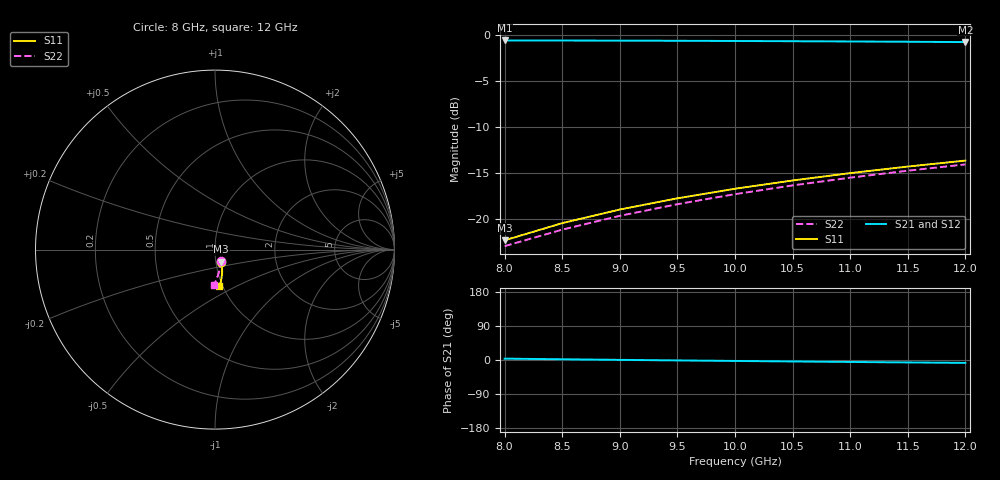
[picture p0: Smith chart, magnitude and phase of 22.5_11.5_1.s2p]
! Created Thu Oct 22 17:09:23 2020
# hz S ma R 50
! 2 Port Network Data from SP1.SP block
! freq  magS11  angS11  magS21  angS21  magS12  angS12  magS22  angS22
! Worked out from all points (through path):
!   9 points, 8 GHz to 12 GHz, reference 50 ohm
!   highest |S21| = -0.62 dB at 8 GHz (marker M1); lowest = -0.8 dB at 12 GHz (marker M2)
!   lowest |S11| = -22.4 dB at 8 GHz (marker M3), VSWR 1.16, Z = 53 - j7.26 ohm
!   |S11| at or under -10 dB: start of sweep to end of sweep
!   |S22| runs from -23.0 to -14.1 dB; largest |S21 - S12| = 0
8e9  0.07615 -63.3  0.9308 3.6  0.9308 3.6  0.07079 -60.3
8.5e9  0.09448 -66.5  0.93 1.9  0.93 1.9  0.08709 -68.3
9e9  0.112 -69.4  0.9287 0.4  0.9287 0.4  0.1035 -74.0
9.5e9  0.1289 -72.1  0.9269 -1.1  0.9269 -1.1  0.1198 -78.3
1e10  0.1453 -74.6  0.9247 -2.5  0.9247 -2.5  0.1358 -81.8
1.05e10  0.1612 -76.9  0.9221 -3.9  0.9221 -3.9  0.1515 -84.8
1.1e10  0.1767 -79.1  0.9191 -5.2  0.9191 -5.2  0.167 -87.3
1.15e10  0.1919 -81.2  0.9157 -6.4  0.9157 -6.4  0.1822 -89.6
1.2e10  0.2068 -83.3  0.9121 -7.6  0.9121 -7.6  0.1971 -91.7
